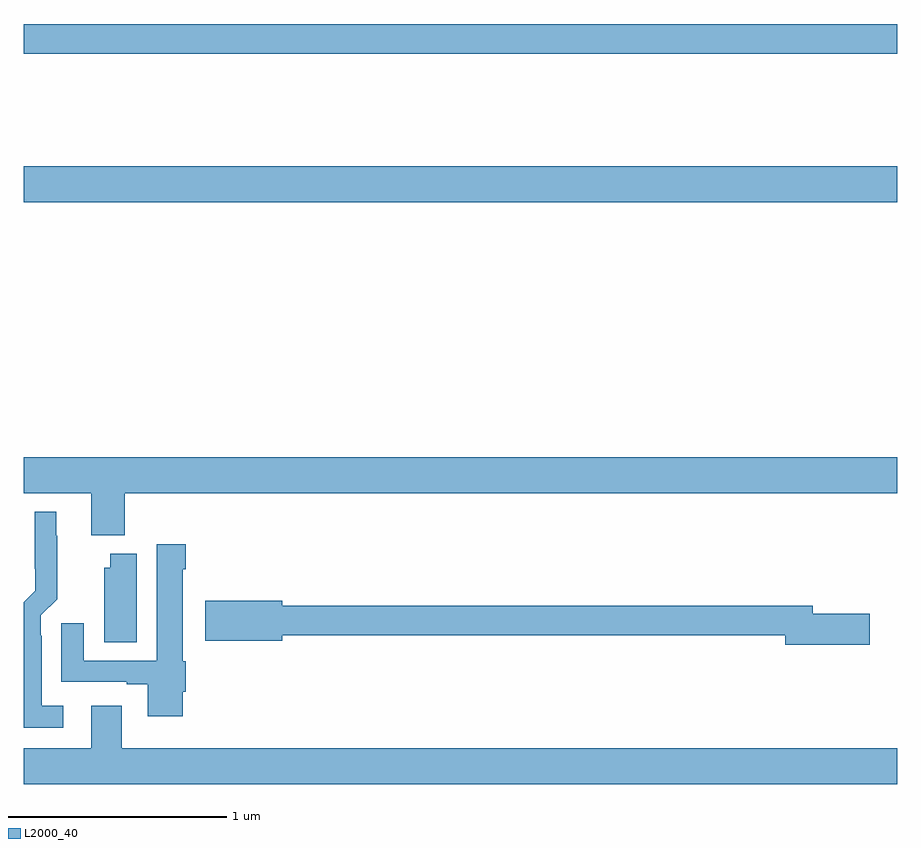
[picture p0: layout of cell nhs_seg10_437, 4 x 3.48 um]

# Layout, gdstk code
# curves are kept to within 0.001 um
import gdstk
lib = gdstk.Library(unit=1e-6, precision=1e-09)
def R(c, l, rs):  # rectangles x0, y0, x1, y1
    for r in rs: c.add(gdstk.rectangle(r[:2], r[2:], *l))
def P(c, l, *ps):  # polygons
    for p in ps: c.add(gdstk.Polygon(p, *l))
L2000_40 = (2000, 40)

nhs_seg10_437 = lib.new_cell('nhs_seg10_437')
R(nhs_seg10_437, L2000_40, [(131,1325.624,135,1325.788), (131,1326.304,135,1326.44)])
P(nhs_seg10_437, L2000_40, [(131.462,1324.292),(135,1324.292),(135,1324.456),(131,1324.456),(131,1324.292),(131.309,1324.292),(131.309,1324.1),(131.462,1324.1)],
  [(131.182,1323.319),(131.083,1323.319),(131.083,1323.638),(131.079,1323.638),(131.079,1323.732),(131.153,1323.806),(131.153,1324.097),(131.149,1324.097),(131.149,1324.207),(131.051,1324.207),(131.052,1323.844),(131,1323.792),(131,1323.218),(131.182,1323.218)],
  [(131.728,1323.382),(131.741,1323.382),(131.741,1323.522),(131.728,1323.522),(131.728,1323.944),(131.741,1323.944),(131.741,1324.057),(131.609,1324.057),(131.609,1323.525),(131.275,1323.525),(131.275,1323.697),(131.171,1323.697),(131.171,1323.429),(131.471,1323.429),(131.471,1323.417),(131.567,1323.417),(131.567,1323.27),(131.728,1323.27)],
  [(131.518,1324.015),(131.396,1324.015),(131.396,1323.951),(131.369,1323.951),(131.369,1323.61),(131.518,1323.61)],
  [(134.875,1323.74),(134.614,1323.74),(134.614,1323.776),(132.184,1323.776),(132.184,1323.8),(131.832,1323.8),(131.832,1323.617),(132.184,1323.617),(132.184,1323.64),(134.486,1323.64),(134.486,1323.598),(134.875,1323.598)],
  [(135,1323.124),(131.449,1323.124),(131.449,1323.319),(131.309,1323.319),(131.309,1323.124),(131,1323.124),(131,1322.96),(135,1322.96)])

lib.write_gds('nhs_seg10_437.gds')
